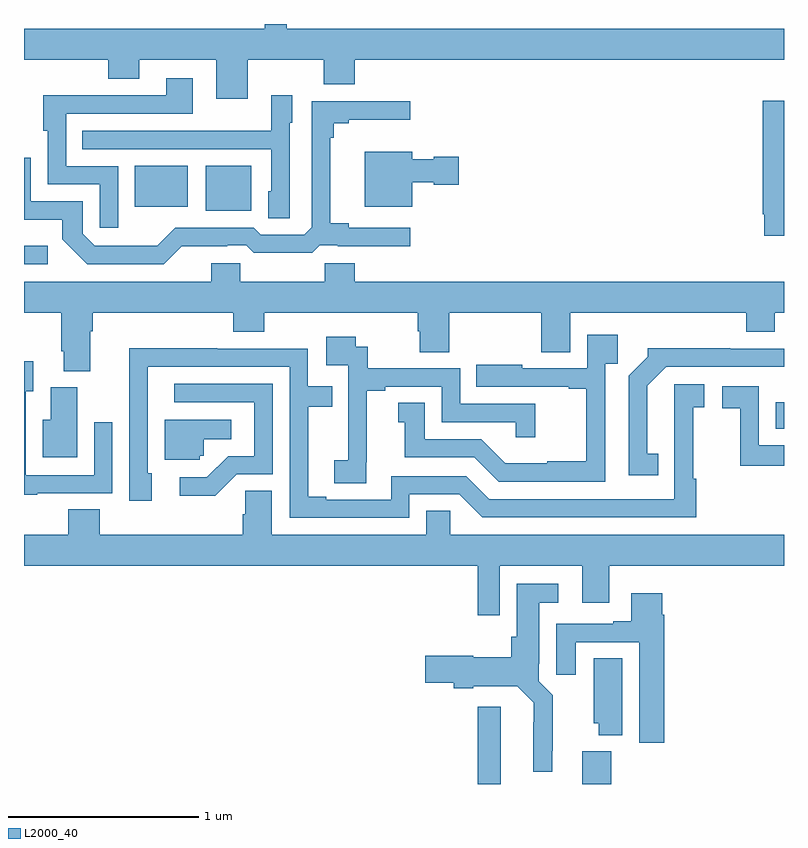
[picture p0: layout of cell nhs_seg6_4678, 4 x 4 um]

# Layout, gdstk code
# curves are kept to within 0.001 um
import gdstk
lib = gdstk.Library(unit=1e-6, precision=1e-09)
def R(c, l, rs):  # rectangles x0, y0, x1, y1
    for r in rs: c.add(gdstk.rectangle(r[:2], r[2:], *l))
def P(c, l, *ps):  # polygons
    for p in ps: c.add(gdstk.Polygon(p, *l))
L2000_40 = (2000, 40)

nhs_seg6_4678 = lib.new_cell('nhs_seg6_4678')
R(nhs_seg6_4678, L2000_40, [(389.387,967.5,389.509,967.906), (389.939,967.5,390.092,967.672), (390.956,969.371,391,969.508), (387,970.236,387.124,970.333), (387.956,970.517,388.195,970.753), (387.584,970.538,387.862,970.753)])
P(nhs_seg6_4678, L2000_40, [(388.177,971.312),(388.577,971.312),(388.577,971.184),(388.741,971.184),(388.741,971.312),(391,971.312),(391,971.476),(388.384,971.476),(388.384,971.5),(388.267,971.5),(388.267,971.476),(387,971.476),(387,971.312),(387.443,971.312),(387.443,971.213),(387.607,971.213),(387.607,971.312),(388.013,971.312),(388.013,971.106),(388.177,971.106)],
  [(387.495,970.752),(387.222,970.752),(387.222,971.028),(387.889,971.028),(387.889,971.215),(387.749,971.215),(387.749,971.124),(387.319,971.124),(387.319,971.126),(387.101,971.126),(387.101,970.938),(387.126,970.938),(387.126,970.656),(387.399,970.656),(387.399,970.428),(387.495,970.428)],
  [(388.398,970.98),(388.411,970.98),(388.411,971.125),(388.302,971.125),(388.302,970.939),(387.985,970.939),(387.985,970.938),(387.307,970.938),(387.307,970.842),(388.302,970.842),(388.302,970.62),(388.286,970.62),(388.286,970.477),(388.398,970.477)],
  [(391,971.096),(390.889,971.096),(390.889,970.498),(390.897,970.498),(390.897,970.386),(391,970.386)],
  [(387.83,970.331),(388.07,970.331),(388.07,970.335),(388.17,970.335),(388.21,970.296),(388.517,970.296),(388.557,970.335),(388.651,970.335),(388.651,970.331),(389.032,970.331),(389.032,970.428),(388.708,970.428),(388.708,970.451),(388.613,970.451),(388.613,970.901),(388.631,970.901),(388.631,970.978),(388.708,970.978),(388.708,970.997),(389.032,970.997),(389.032,971.094),(388.515,971.094),(388.515,970.431),(388.476,970.392),(388.245,970.392),(388.209,970.428),(387.795,970.428),(387.701,970.334),(387.596,970.334),(387.596,970.332),(387.372,970.332),(387.309,970.395),(387.309,970.566),(387.036,970.566),(387.036,970.795),(387,970.795),(387,970.469),(387.202,970.469),(387.202,970.367),(387.332,970.236),(387.735,970.236)],
  [(389.044,970.667),(389.157,970.667),(389.157,970.655),(389.287,970.655),(389.287,970.802),(389.157,970.802),(389.157,970.789),(389.044,970.789),(389.044,970.828),(388.793,970.828),(388.793,970.538),(389.044,970.538)],
  [(387.349,969.884),(387.362,969.884),(387.362,969.98),(388.1,969.98),(388.1,969.881),(388.265,969.881),(388.265,969.98),(389.072,969.98),(389.072,969.882),(389.084,969.882),(389.084,969.772),(389.237,969.772),(389.237,969.98),(389.723,969.98),(389.723,969.772),(389.875,969.772),(389.875,969.98),(390.8,969.98),(390.8,969.881),(390.952,969.881),(390.952,969.98),(391,969.98),(391,970.144),(388.742,970.144),(388.742,970.242),(388.582,970.242),(388.582,970.144),(388.137,970.144),(388.137,970.242),(387.986,970.242),(387.986,970.144),(387,970.144),(387,969.98),(387.197,969.98),(387.197,969.778),(387.209,969.778),(387.209,969.673),(387.349,969.673)],
  [(390.06,969.713),(390.125,969.713),(390.125,969.865),(389.964,969.865),(389.964,969.687),(389.623,969.687),(389.623,969.706),(389.38,969.706),(389.38,969.591),(389.867,969.591),(389.867,969.579),(389.959,969.579),(389.959,969.199),(389.753,969.199),(389.753,969.187),(389.534,969.187),(389.406,969.315),(389.11,969.315),(389.11,969.506),(388.97,969.506),(388.97,969.403),(389.003,969.403),(389.003,969.219),(389.37,969.219),(389.499,969.09),(390.06,969.09)],
  [(388.802,969.193),(388.804,969.193),(388.804,969.571),(388.9,969.571),(388.9,969.591),(389.199,969.591),(389.199,969.405),(389.589,969.405),(389.589,969.324),(389.69,969.324),(389.69,969.501),(389.295,969.501),(389.295,969.687),(388.808,969.687),(388.808,969.801),(388.746,969.801),(388.746,969.853),(388.59,969.853),(388.59,969.705),(388.707,969.705),(388.707,969.401),(388.706,969.401),(388.706,969.204),(388.632,969.204),(388.632,969.082),(388.802,969.082)],
  [(389.028,969.024),(389.292,969.024),(389.412,968.904),(390.539,968.904),(390.539,969.107),(390.522,969.107),(390.522,969.483),(390.58,969.483),(390.58,969.604),(390.422,969.604),(390.423,969),(389.448,969),(389.328,969.12),(388.932,969.12),(388.932,968.997),(388.591,968.997),(388.591,969.012),(388.495,969.012),(388.495,969.486),(388.622,969.486),(388.622,969.594),(388.494,969.594),(388.494,969.792),(388.016,969.792),(388.016,969.794),(387.554,969.794),(387.555,968.991),(387.673,968.991),(387.673,969.135),(387.651,969.135),(387.651,969.696),(388.398,969.696),(388.398,968.901),(389.028,968.901)],
  [(390.338,969.239),(390.28,969.239),(390.28,969.595),(390.381,969.696),(391,969.696),(391,969.792),(390.716,969.792),(390.716,969.794),(390.282,969.794),(390.282,969.749),(390.183,969.65),(390.183,969.126),(390.338,969.126)],
  [(387.069,969.03),(387.465,969.03),(387.465,969.403),(387.369,969.403),(387.369,969.126),(387.009,969.126),(387.009,969.568),(387.049,969.568),(387.049,969.724),(387,969.724),(387,969.023),(387.069,969.023)],
  [(388.119,969.129),(388.308,969.129),(388.308,969.606),(387.792,969.606),(387.792,969.51),(388.212,969.51),(388.212,969.225),(388.074,969.225),(387.963,969.114),(387.819,969.114),(387.819,969.017),(388.006,969.017)],
  [(391,969.282),(390.867,969.282),(390.867,969.594),(390.675,969.594),(390.675,969.478),(390.769,969.478),(390.769,969.174),(391,969.174)],
  [(387.28,969.588),(387.14,969.588),(387.14,969.418),(387.098,969.418),(387.098,969.221),(387.28,969.221)],
  [(387.924,969.228),(387.945,969.228),(387.945,969.314),(388.09,969.314),(388.09,969.418),(387.74,969.418),(387.74,969.207),(387.924,969.207)],
  [(389.505,968.648),(389.939,968.648),(389.939,968.454),(390.079,968.454),(390.079,968.648),(391,968.648),(391,968.812),(389.244,968.812),(389.244,968.939),(389.117,968.939),(389.117,968.812),(388.303,968.812),(388.303,969.044),(388.164,969.044),(388.164,968.921),(388.151,968.921),(388.151,968.812),(387.398,968.812),(387.398,968.945),(387.233,968.945),(387.233,968.812),(387,968.812),(387,968.648),(389.389,968.648),(389.389,968.388),(389.505,968.388)],
  [(389.779,967.675),(389.783,967.675),(389.783,967.966),(389.709,968.04),(389.709,968.134),(389.713,968.134),(389.713,968.453),(389.812,968.453),(389.812,968.554),(389.594,968.554),(389.594,968.274),(389.564,968.274),(389.564,968.167),(389.365,968.167),(389.365,968.175),(389.112,968.175),(389.112,968.033),(389.261,968.033),(389.261,968.003),(389.365,968.003),(389.365,968.015),(389.595,968.015),(389.682,967.928),(389.681,967.565),(389.779,967.565)],
  [(390.371,968.39),(390.358,968.39),(390.358,968.503),(390.197,968.503),(390.197,968.356),(390.101,968.356),(390.101,968.343),(389.801,968.343),(389.801,968.076),(389.905,968.076),(389.905,968.247),(390.239,968.247),(390.239,967.716),(390.371,967.716)],
  [(390.148,968.162),(389.999,968.162),(389.999,967.821),(390.026,967.821),(390.026,967.757),(390.148,967.757)])

lib.write_gds('nhs_seg6_4678.gds')
